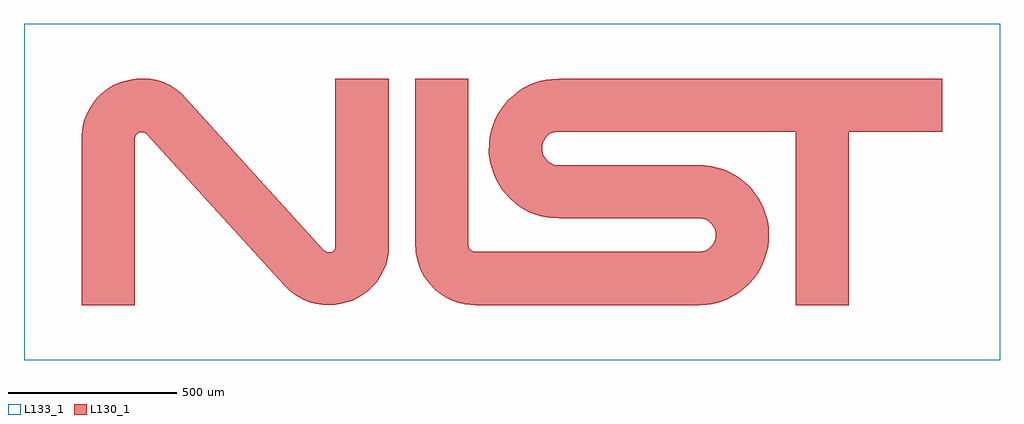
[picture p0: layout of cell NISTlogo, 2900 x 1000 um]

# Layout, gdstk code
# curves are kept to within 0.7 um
import gdstk
lib = gdstk.Library(unit=1e-6, precision=1e-09)
def R(c, l, rs):  # rectangles x0, y0, x1, y1
    for r in rs: c.add(gdstk.rectangle(r[:2], r[2:], *l))
def P(c, l, *ps):  # polygons
    for p in ps: c.add(gdstk.Polygon(p, *l))
L130_1 = (130, 1)
L133_1 = (133, 1)

nistlogo = lib.new_cell('NISTlogo')
R(nistlogo, L130_1, [(-1278.554,-336.042,-1120.538,159.078), (-107.515,-336.042,556.492,-178.026), (842.565,-336.042,1000.581,179.104), (-524.475,-162.027,-366.459,337.045), (-287.455,-157.942,-129.438,337.045), (140.513,-77.998,554.575,80.018), (138.577,179.029,1278.554,337.045)])
P(nistlogo, L130_1, [(140.513,-77.998),(112.713,-76.843),(86.003,-71.638),(54.049,-60.997),(31.576,-49.226),(10.709,-34.511),(-10.158,-15.517),(-29.957,8.293),(-46.757,36.598),(-56.389,58.429),(-65.057,86.68),(-68.909,113.968),(-68.267,148.961),(-64.671,171.603),(-59.411,192.314),(-50.032,217.021),(-38.475,238.081),(-23.065,259.911),(-10.993,274.037),(23.422,302.288),(34.412,309.28),(52.953,318.748),(70.508,325.454),(101.081,333.541),(138.577,337.045),(138.577,179.029),(127.358,178.221),(115.78,174.119),(106.845,167.976),(100.367,161.163),(95.118,153.569),(91.879,145.639),(89.198,136.369),(89.198,124.083),(91.008,114.188),(95.297,104.94),(108.029,89.93),(123.978,81.62),(140.513,80.018)],
  [(-107.515,-335.966),(-133.789,-333.955),(-145.43,-332.005),(-164.525,-327.016),(-175.34,-322.975),(-190.587,-315.95),(-204.707,-307.922),(-218.397,-298.174),(-231.514,-286.992),(-244.559,-273.015),(-261.478,-250.004),(-275.505,-220.961),(-283.547,-192.804),(-287.455,-157.942),(-129.438,-157.942),(-126.796,-166.566),(-122.843,-171.815),(-117.917,-175.704),(-107.515,-178.032)],
  [(-544.791,-336.042),(-583.322,-332.546),(-600.355,-327.52),(-618.224,-320.679),(-632.325,-312.722),(-661.189,-292.304),(-675.847,-278.343),(-1084.943,171.121),(-1090.641,175.612),(-1100.248,177.438),(-1107.069,176.861),(-1113.794,173.499),(-1118.213,169.08),(-1120.538,159.078),(-1278.554,159.078),(-1278.243,171.539),(-1275.323,194.595),(-1272.248,208.976),(-1265.915,225.629),(-1259.583,240.405),(-1252.312,253.539),(-1243.399,266.439),(-1232.376,279.573),(-1220.414,291.3),(-1207.28,302.089),(-1195.553,310.532),(-1181.246,318.272),(-1153.805,329.53),(-1126.832,335.394),(-1116.513,336.801),(-1095.169,337.045),(-1074.295,335.863),(-1042.583,329.093),(-1016.105,317.385),(-999.893,306.577),(-983.321,292.887),(-561.585,-170.069),(-556.057,-175.081),(-548.827,-178.438),(-541.309,-178.438),(-534.108,-177.017),(-528.685,-173.144),(-525.328,-167.85),(-524.475,-162.027),(-366.459,-162.027),(-366.511,-178.279),(-369.862,-197.405),(-379.181,-227.561),(-392.793,-253.563),(-402.565,-267.523),(-413.821,-280.306),(-427.346,-292.958),(-443.706,-305.174),(-458.975,-314.554),(-475.336,-322.407),(-508.711,-332.659),(-525.071,-335.713)],
  [(556.492,-335.966),(556.492,-178.032),(572.25,-175.047),(582.498,-170.343),(589.721,-164.296),(600.473,-149.68),(605.009,-135.569),(604.673,-121.122),(603.329,-113.058),(600.137,-104.995),(593.921,-96.091),(587.464,-89.925),(579.723,-84.635),(564.24,-79.088),(554.575,-77.998),(554.575,80.018),(594.105,76.023),(610.603,72.456),(643.599,60.194),(674.828,41.663),(689.81,30.249),(711.926,9.274),(731.259,-16.944),(738.929,-30.32),(746.42,-46.015),(755.872,-71.877),(762.828,-106.121),(763.541,-143.396),(760.688,-163.372),(754.659,-187.7),(748.692,-206.011),(740.638,-223.435),(730.666,-240.968),(718.174,-257.843),(705.682,-272.171),(693.765,-283.677),(681.574,-293.813),(666.37,-304.086),(636.098,-319.838),(619.881,-325.783),(592.266,-332.796),(579.336,-334.878)])
R(nistlogo, L133_1, [(-1450,-500,1450,500)])

lib.write_gds('NISTlogo.gds')
